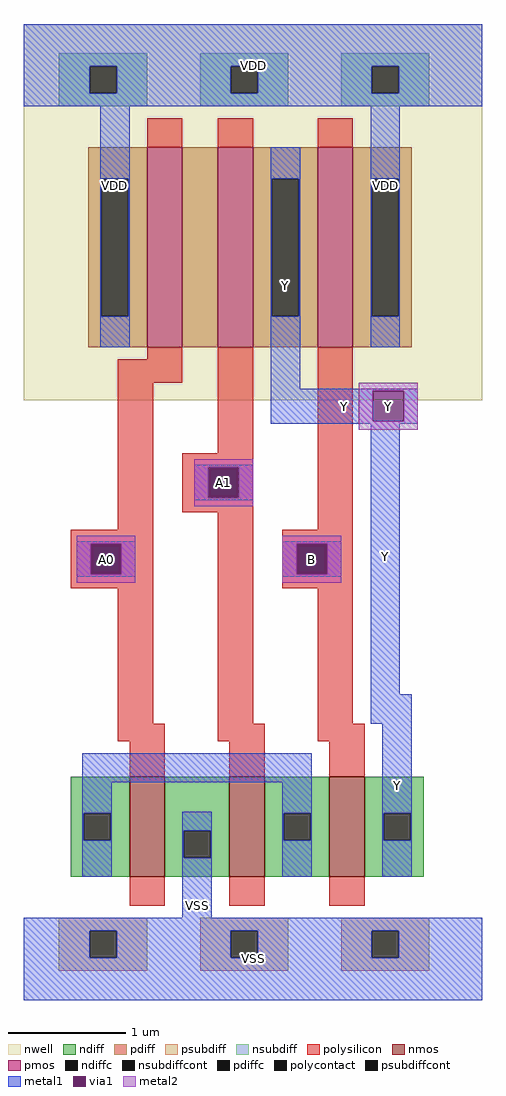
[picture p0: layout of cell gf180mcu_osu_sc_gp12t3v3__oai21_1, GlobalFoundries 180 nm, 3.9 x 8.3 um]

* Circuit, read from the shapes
.subckt gf180mcu_osu_sc_gp12t3v3__oai21_1 A0 A1 B Y VDD VSS
XM1 VSS A0 n1 VSS nfet_03v3 w=0.85u l=0.3u
XM2 n1 A1 VSS VSS nfet_03v3 w=0.85u l=0.3u
XM3 Y B n1 VSS nfet_03v3 w=0.85u l=0.3u
XM4 n2 A0 VDD VDD pfet_03v3 w=1.7u l=0.3u
XM5 Y A1 n2 VDD pfet_03v3 w=1.7u l=0.3u
XM6 VDD B Y VDD pfet_03v3 w=1.7u l=0.3u
.ends

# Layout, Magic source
magic
tech gf180mcuA
magscale 1 10
<< nwell >>
rect 0 1020 780 1660
<< nmos >>
rect 180 210 240 380
rect 350 210 410 380
rect 520 210 580 380
<< pmos >>
rect 210 1110 270 1450
rect 330 1110 390 1450
rect 500 1110 560 1450
<< ndiff >>
rect 80 318 180 380
rect 80 272 102 318
rect 148 272 180 318
rect 80 210 180 272
rect 240 288 350 380
rect 240 242 272 288
rect 318 242 350 288
rect 240 210 350 242
rect 410 318 520 380
rect 410 272 442 318
rect 488 272 520 318
rect 410 210 520 272
rect 580 318 680 380
rect 580 272 612 318
rect 658 272 680 318
rect 580 210 680 272
<< pdiff >>
rect 110 1397 210 1450
rect 110 1163 132 1397
rect 178 1163 210 1397
rect 110 1110 210 1163
rect 270 1110 330 1450
rect 390 1397 500 1450
rect 390 1163 422 1397
rect 468 1163 500 1397
rect 390 1110 500 1163
rect 560 1397 660 1450
rect 560 1163 592 1397
rect 638 1163 660 1397
rect 560 1110 660 1163
<< ndiffc >>
rect 102 272 148 318
rect 272 242 318 288
rect 442 272 488 318
rect 612 272 658 318
<< pdiffc >>
rect 132 1163 178 1397
rect 422 1163 468 1397
rect 592 1163 638 1397
<< psubdiff >>
rect 60 118 210 140
rect 60 72 112 118
rect 158 72 210 118
rect 60 50 210 72
rect 300 118 450 140
rect 300 72 352 118
rect 398 72 450 118
rect 300 50 450 72
rect 540 118 690 140
rect 540 72 592 118
rect 638 72 690 118
rect 540 50 690 72
<< nsubdiff >>
rect 60 1588 210 1610
rect 60 1542 112 1588
rect 158 1542 210 1588
rect 60 1520 210 1542
rect 300 1588 450 1610
rect 300 1542 352 1588
rect 398 1542 450 1588
rect 300 1520 450 1542
rect 540 1588 690 1610
rect 540 1542 592 1588
rect 638 1542 690 1588
rect 540 1520 690 1542
<< psubdiffcont >>
rect 112 72 158 118
rect 352 72 398 118
rect 592 72 638 118
<< nsubdiffcont >>
rect 112 1542 158 1588
rect 352 1542 398 1588
rect 592 1542 638 1588
<< polysilicon >>
rect 210 1450 270 1500
rect 330 1450 390 1500
rect 500 1450 560 1500
rect 210 1090 270 1110
rect 160 1050 270 1090
rect 160 800 220 1050
rect 330 930 390 1110
rect 270 903 390 930
rect 270 857 317 903
rect 363 857 390 903
rect 270 830 390 857
rect 80 773 220 800
rect 80 727 117 773
rect 163 727 220 773
rect 80 700 220 727
rect 160 470 220 700
rect 330 470 390 830
rect 500 800 560 1110
rect 440 773 560 800
rect 440 727 467 773
rect 513 727 560 773
rect 440 700 560 727
rect 500 470 560 700
rect 160 440 240 470
rect 330 440 410 470
rect 500 440 580 470
rect 180 380 240 440
rect 350 380 410 440
rect 520 380 580 440
rect 180 160 240 210
rect 350 160 410 210
rect 520 160 580 210
<< polycontact >>
rect 317 857 363 903
rect 117 727 163 773
rect 467 727 513 773
<< metal1 >>
rect 0 1588 780 1660
rect 0 1542 112 1588
rect 158 1542 352 1588
rect 398 1542 592 1588
rect 638 1542 780 1588
rect 0 1520 780 1542
rect 130 1397 180 1520
rect 130 1163 132 1397
rect 178 1163 180 1397
rect 130 1110 180 1163
rect 420 1397 470 1450
rect 420 1163 422 1397
rect 468 1163 470 1397
rect 420 1040 470 1163
rect 590 1397 640 1520
rect 590 1163 592 1397
rect 638 1163 640 1397
rect 590 1110 640 1163
rect 420 1036 670 1040
rect 420 984 594 1036
rect 646 984 670 1036
rect 420 980 670 984
rect 290 906 390 910
rect 290 854 314 906
rect 366 854 390 906
rect 290 850 390 854
rect 90 776 190 780
rect 90 724 114 776
rect 166 724 190 776
rect 90 720 190 724
rect 440 776 540 780
rect 440 724 464 776
rect 516 724 540 776
rect 440 720 540 724
rect 590 520 640 980
rect 590 470 660 520
rect 100 370 490 420
rect 100 318 150 370
rect 100 272 102 318
rect 148 272 150 318
rect 100 210 150 272
rect 270 288 320 320
rect 270 242 272 288
rect 318 242 320 288
rect 270 140 320 242
rect 440 318 490 370
rect 440 272 442 318
rect 488 272 490 318
rect 440 210 490 272
rect 610 318 660 470
rect 610 272 612 318
rect 658 272 660 318
rect 610 210 660 272
rect 0 118 780 140
rect 0 72 112 118
rect 158 72 352 118
rect 398 72 592 118
rect 638 72 780 118
rect 0 0 780 72
<< via1 >>
rect 594 984 646 1036
rect 314 903 366 906
rect 314 857 317 903
rect 317 857 363 903
rect 363 857 366 903
rect 314 854 366 857
rect 114 773 166 776
rect 114 727 117 773
rect 117 727 163 773
rect 163 727 166 773
rect 114 724 166 727
rect 464 773 516 776
rect 464 727 467 773
rect 467 727 513 773
rect 513 727 516 773
rect 464 724 516 727
<< metal2 >>
rect 570 1036 670 1050
rect 570 984 594 1036
rect 646 984 670 1036
rect 570 970 670 984
rect 290 906 390 920
rect 290 854 314 906
rect 366 854 390 906
rect 290 840 390 854
rect 90 776 190 790
rect 90 724 114 776
rect 166 724 190 776
rect 90 710 190 724
rect 440 776 540 790
rect 440 724 464 776
rect 516 724 540 776
rect 440 710 540 724
<< labels >>
rlabel via1 s 114 724 166 776 4 A0
port 1 nsew signal input
rlabel via1 s 314 854 366 906 4 A1
port 2 nsew signal input
rlabel via1 s 464 724 516 776 4 B
port 3 nsew signal input
rlabel via1 s 594 984 646 1036 4 Y
port 4 nsew signal output
rlabel metal1 s 130 1110 180 1660 4 VDD
port 5 nsew power bidirectional abutment
rlabel metal1 s 270 0 320 320 4 VSS
port 6 nsew ground bidirectional abutment
rlabel metal1 s 590 1110 640 1660 1 VDD
port 5 nsew power bidirectional abutment
rlabel metal1 s 0 1520 780 1660 1 VDD
port 5 nsew power bidirectional abutment
rlabel metal1 s 0 0 780 140 1 VSS
port 6 nsew ground bidirectional abutment
rlabel metal2 s 90 710 190 790 1 A0
port 1 nsew signal input
rlabel metal1 s 90 720 190 780 1 A0
port 1 nsew signal input
rlabel metal2 s 290 840 390 920 1 A1
port 2 nsew signal input
rlabel metal1 s 290 850 390 910 1 A1
port 2 nsew signal input
rlabel metal2 s 440 710 540 790 1 B
port 3 nsew signal input
rlabel metal1 s 440 720 540 780 1 B
port 3 nsew signal input
rlabel metal2 s 570 970 670 1050 1 Y
port 4 nsew signal output
rlabel metal1 s 420 980 470 1450 1 Y
port 4 nsew signal output
rlabel metal1 s 590 470 640 1040 1 Y
port 4 nsew signal output
rlabel metal1 s 610 210 660 520 1 Y
port 4 nsew signal output
rlabel metal1 s 420 980 670 1040 1 Y
port 4 nsew signal output
<< properties >>
string FIXED_BBOX 0 0 780 1660
string GDS_END 478352
string GDS_FILE $PDKPATH/libs.ref/gf180mcu_osu_sc_gp12t3v3/gds/gf180mcu_osu_sc_gp12t3v3.gds
string GDS_START 472740
string LEFclass CORE
string LEFsite gf180mcu_osu_sc_gp12t3v3
string LEFsymmetry X Y
<< end >>
